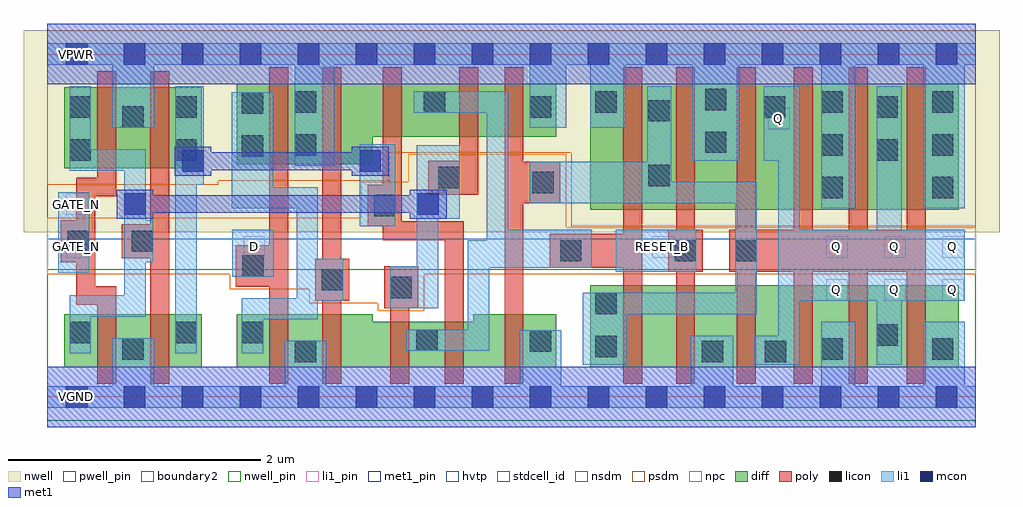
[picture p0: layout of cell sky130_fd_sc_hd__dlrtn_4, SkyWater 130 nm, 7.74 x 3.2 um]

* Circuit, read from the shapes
.subckt sky130_fd_sc_hd__dlrtn_4 D GATE_N Q RESET_B VGND VNB VPB VPWR
XM1 VGND GATE_N n1 VNB sky130_fd_pr__nfet_01v8 w=0.42 l=0.15
XM2 n2 n1 VGND VNB sky130_fd_pr__nfet_01v8 w=0.42 l=0.15
XM3 VGND D n3 VNB sky130_fd_pr__nfet_01v8 w=0.42 l=0.15
XM4 n4 n3 VGND VNB sky130_fd_pr__nfet_01v8 w=0.42 l=0.15
XM5 n5 n1 n4 VNB sky130_fd_pr__nfet_01v8 w=0.36 l=0.15
XM6 n6 n2 n5 VNB sky130_fd_pr__nfet_01v8 w=0.36 l=0.15
XM7 VGND n7 n6 VNB sky130_fd_pr__nfet_01v8 w=0.42 l=0.15
XM8 n8 n5 n7 VNB sky130_fd_pr__nfet_01v8 w=0.65 l=0.15
XM9 VGND RESET_B n8 VNB sky130_fd_pr__nfet_01v8 w=0.65 l=0.15
XM10 Q n7 VGND VNB sky130_fd_pr__nfet_01v8 w=0.65 l=0.15 m=4
XM11 VPWR GATE_N n1 VPB sky130_fd_pr__pfet_01v8_hvt w=0.64 l=0.15
XM12 n2 n1 VPWR VPB sky130_fd_pr__pfet_01v8_hvt w=0.64 l=0.15
XM13 VPWR D n3 VPB sky130_fd_pr__pfet_01v8_hvt w=0.64 l=0.15
XM14 n9 n3 VPWR VPB sky130_fd_pr__pfet_01v8_hvt w=0.64 l=0.15
XM15 n5 n2 n9 VPB sky130_fd_pr__pfet_01v8_hvt w=0.42 l=0.15
XM16 n10 n1 n5 VPB sky130_fd_pr__pfet_01v8_hvt w=0.42 l=0.15
XM17 VPWR n7 n10 VPB sky130_fd_pr__pfet_01v8_hvt w=0.42 l=0.15
XM18 n7 n5 VPWR VPB sky130_fd_pr__pfet_01v8_hvt w=1 l=0.15
XM19 VPWR RESET_B n7 VPB sky130_fd_pr__pfet_01v8_hvt w=1 l=0.15
XM20 Q n7 VPWR VPB sky130_fd_pr__pfet_01v8_hvt w=1 l=0.15 m=4
.ends

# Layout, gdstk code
import gdstk
lib = gdstk.Library(unit=1e-6, precision=1e-09)
def R(c, l, rs):  # rectangles x0, y0, x1, y1
    for r in rs: c.add(gdstk.rectangle(r[:2], r[2:], *l))
def A(c, l, x, y, w, h, nx, ny, dx, dy):  # array of equal rectangles
    R(c, l, [(x+i*dx, y+j*dy, x+i*dx+w, y+j*dy+h) for i in range(nx) for j in range(ny)])
def P(c, l, *ps):  # polygons
    for p in ps: c.add(gdstk.Polygon(p, *l))
nwell_pin = (64, 16)
nwell = (64, 20)
diff = (65, 20)
poly = (66, 20)
licon = (66, 44)
li1_pin = (67, 16)
li1 = (67, 20)
mcon = (67, 44)
met1_pin = (68, 16)
met1 = (68, 20)
hvtp = (78, 44)
stdcell_id = (81, 4)
nsdm = (93, 44)
psdm = (94, 20)
npc = (95, 20)
pwell_pin = (122, 16)
boundary2 = (236, 0)

sky130_fd_sc_hd__dlrtn_4 = lib.new_cell('sky130_fd_sc_hd__dlrtn_4')
R(sky130_fd_sc_hd__dlrtn_4, nwell_pin, [(0.15,2.635,0.32,2.805), (0.15,2.635,0.32,2.805), (0.15,2.635,0.32,2.805), (0.15,2.635,0.32,2.805)])
R(sky130_fd_sc_hd__dlrtn_4, nwell, [(-0.19,1.305,7.55,2.91)])
R(sky130_fd_sc_hd__dlrtn_4, diff, [(0.135,0.235,1.225,0.655), (4.305,0.235,7.225,0.885), (4.305,1.485,7.225,2.485), (0.135,1.815,1.225,2.455)])
P(sky130_fd_sc_hd__dlrtn_4, diff, [(4.035,2.485),(1.5,2.485),(1.5,1.845),(2.58,1.845),(2.58,2.065),(4.035,2.065)],
  [(4.035,0.655),(3.375,0.655),(3.375,0.595),(2.58,0.595),(2.58,0.655),(1.5,0.655),(1.5,0.235),(4.035,0.235)])
P(sky130_fd_sc_hd__dlrtn_4, poly, [(0.545,0.88),(0.38,0.88),(0.38,1.59),(0.545,1.59),(0.545,2.585),(0.395,2.585),(0.395,1.74),(0.23,1.74),(0.23,1.4),(0.105,1.4),(0.105,1.07),(0.23,1.07),(0.23,0.73),(0.395,0.73),(0.395,0.105),(0.545,0.105)],
  [(0.965,2.585),(0.815,2.585),(0.815,1.37),(0.59,1.37),(0.59,1.1),(0.815,1.1),(0.815,0.105),(0.965,0.105)],
  [(1.91,2.615),(1.76,2.615),(1.76,1.205),(1.495,1.205),(1.495,0.875),(1.76,0.875),(1.76,0.105),(1.91,0.105)],
  [(2.395,1.095),(2.33,1.095),(2.33,2.615),(2.18,2.615),(2.18,1.095),(2.125,1.095),(2.125,0.765),(2.18,0.765),(2.18,0.105),(2.33,0.105),(2.33,0.765),(2.395,0.765)],
  [(2.94,1.035),(2.67,1.035),(2.67,0.705),(2.72,0.705),(2.72,0.105),(2.87,0.105),(2.87,0.705),(2.94,0.705)],
  [(3.3,1.395),(2.81,1.395),(2.81,2.615),(2.66,2.615),(2.66,1.685),(2.54,1.685),(2.54,1.355),(2.66,1.355),(2.66,1.245),(3.15,1.245),(3.15,0.105),(3.3,0.105)],
  [(3.415,2.615),(3.265,2.615),(3.265,1.875),(3.02,1.875),(3.02,1.605),(3.415,1.605)],
  [(4.065,1.865),(3.775,1.865),(3.775,2.615),(3.625,2.615),(3.625,0.105),(3.775,0.105),(3.775,1.535),(4.065,1.535)],
  [(4.715,2.615),(4.565,2.615),(4.565,1.295),(3.985,1.295),(3.985,1.025),(4.565,1.025),(4.565,0.105),(4.715,0.105)],
  [(5.195,1.325),(5.135,1.325),(5.135,2.615),(4.985,2.615),(4.985,1.325),(4.925,1.325),(4.925,0.995),(4.985,0.995),(4.985,0.105),(5.135,0.105),(5.135,0.995),(5.195,0.995)],
  [(6.965,2.615),(6.815,2.615),(6.815,1.325),(6.505,1.325),(6.505,2.615),(6.355,2.615),(6.355,1.325),(6.07,1.325),(6.07,2.615),(5.92,2.615),(5.92,1.325),(5.615,1.325),(5.615,2.615),(5.465,2.615),(5.465,1.325),(5.405,1.325),(5.405,0.995),(5.465,0.995),(5.465,0.105),(5.615,0.105),(5.615,0.995),(5.92,0.995),(5.92,0.105),(6.07,0.105),(6.07,0.995),(6.355,0.995),(6.355,0.105),(6.505,0.105),(6.505,0.995),(6.815,0.995),(6.815,0.105),(6.965,0.105)])
A(sky130_fd_sc_hd__dlrtn_4, licon, 6.135, 1.575, 0.17, 0.17, 1, 3, 0, 0.34)
A(sky130_fd_sc_hd__dlrtn_4, licon, 7.015, 1.575, 0.17, 0.17, 1, 3, 0, 0.34)
R(sky130_fd_sc_hd__dlrtn_4, licon, [(1.96,0.275,2.13,0.445), (5.19,0.275,5.36,0.445), (5.69,0.275,5.86,0.445), (0.595,0.295,0.765,0.465), (6.135,0.295,6.305,0.465), (7.015,0.295,7.185,0.465), (4.345,0.315,4.515,0.485), (3.825,0.36,3.995,0.53), (2.925,0.365,3.095,0.535), (6.575,0.405,6.745,0.575), (0.175,0.425,0.345,0.595), (1.015,0.425,1.185,0.595), (1.54,0.425,1.71,0.595), (4.345,0.655,4.515,0.825), (2.72,0.785,2.89,0.955), (2.175,0.845,2.345,1.015), (1.545,0.955,1.715,1.125), (4.065,1.075,4.235,1.245), (4.975,1.075,5.145,1.245), (5.455,1.075,5.625,1.245), (0.16,1.15,0.33,1.32), (0.67,1.15,0.84,1.32), (2.59,1.435,2.76,1.605), (3.845,1.615,4.015,1.785), (3.1,1.655,3.27,1.825), (4.765,1.67,4.935,1.84), (0.175,1.875,0.345,2.045), (1.015,1.875,1.185,2.045), (6.575,1.875,6.745,2.045), (1.54,1.905,1.71,2.075), (1.96,1.915,2.13,2.085), (5.215,1.935,5.385,2.105), (0.595,2.135,0.765,2.305), (4.765,2.185,4.935,2.355), (0.175,2.215,0.345,2.385), (1.015,2.215,1.185,2.385), (3.825,2.215,3.995,2.385), (5.68,2.215,5.85,2.385), (6.575,2.215,6.745,2.385), (1.54,2.245,1.71,2.415), (1.96,2.255,2.13,2.425), (2.985,2.255,3.155,2.425), (4.345,2.255,4.515,2.425), (5.215,2.275,5.385,2.445)])
A(sky130_fd_sc_hd__dlrtn_4, li1_pin, 6.175, 0.765, 0.17, 0.17, 3, 2, 0.46, 0.34)
R(sky130_fd_sc_hd__dlrtn_4, li1_pin, [(0.15,1.105,0.32,1.275), (1.555,1.105,1.725,1.275), (4.795,1.105,4.965,1.275), (0.15,1.445,0.32,1.615), (5.715,2.125,5.885,2.295)])
R(sky130_fd_sc_hd__dlrtn_4, li1, [(1.465,0.955,1.795,1.325), (0.085,0.985,0.33,1.625), (4.505,0.995,5.145,1.325), (2.475,1.355,2.76,2.005)])
P(sky130_fd_sc_hd__dlrtn_4, li1, [(2.345,1.095),(2.145,1.095),(2.145,1.665),(1.79,1.665),(1.79,2.415),(1.46,2.415),(1.46,1.495),(1.975,1.495),(1.975,0.785),(1.54,0.785),(1.54,0.345),(1.71,0.345),(1.71,0.615),(2.145,0.615),(2.145,0.765),(2.345,0.765)],
  [(3.27,1.995),(2.93,1.995),(2.93,1.035),(2.72,1.035),(2.72,0.705),(3.1,0.705),(3.1,1.415),(3.27,1.415)],
  [(5.625,1.705),(4.945,1.705),(4.945,2.465),(4.755,2.465),(4.755,1.865),(3.825,1.865),(3.825,1.535),(5.455,1.535),(5.455,0.825),(4.245,0.825),(4.245,0.255),(4.595,0.255),(4.595,0.655),(5.625,0.655)],
  [(7.275,1.325),(6.775,1.325),(6.775,2.465),(6.575,2.465),(6.575,1.325),(5.965,1.325),(5.965,2.465),(5.68,2.465),(5.68,1.875),(5.795,1.875),(5.795,0.485),(5.61,0.485),(5.61,0.255),(5.965,0.255),(5.965,0.765),(6.575,0.765),(6.575,0.255),(6.775,0.255),(6.775,0.765),(7.275,0.765)],
  [(7.36,2.805),(0,2.805),(0,2.635),(0.515,2.635),(0.515,2.135),(0.845,2.135),(0.845,2.635),(1.96,2.635),(1.96,1.835),(2.275,1.835),(2.275,2.635),(3.825,2.635),(3.825,2.135),(4.115,2.135),(4.115,2.635),(4.305,2.635),(4.305,2.135),(4.585,2.135),(4.585,2.635),(5.115,2.635),(5.115,1.875),(5.485,1.875),(5.485,2.635),(6.135,2.635),(6.135,1.495),(6.405,1.495),(6.405,2.635),(6.945,2.635),(6.945,1.495),(7.275,1.495),(7.275,2.635),(7.36,2.635)],
  [(1.24,2.465),(1.015,2.465),(1.015,0.345),(1.185,0.345),(1.185,1.685),(1.24,1.685)],
  [(7.36,0.085),(7.275,0.085),(7.275,0.595),(6.945,0.595),(6.945,0.085),(6.405,0.085),(6.405,0.595),(6.135,0.595),(6.135,0.085),(5.44,0.085),(5.44,0.485),(5.1,0.485),(5.1,0.085),(4.075,0.085),(4.075,0.53),(3.745,0.53),(3.745,0.085),(2.21,0.085),(2.21,0.445),(1.88,0.445),(1.88,0.085),(0.845,0.085),(0.845,0.465),(0.515,0.465),(0.515,0.085),(0,0.085),(0,-0.085),(7.36,-0.085)],
  [(0.84,1.4),(0.78,1.4),(0.78,1.965),(0.345,1.965),(0.345,2.465),(0.175,2.465),(0.175,1.795),(0.61,1.795),(0.61,0.805),(0.175,0.805),(0.175,0.345),(0.345,0.345),(0.345,0.635),(0.78,0.635),(0.78,1.07),(0.84,1.07)],
  [(4.315,1.325),(3.655,1.325),(3.655,2.425),(2.905,2.425),(2.905,2.255),(3.485,2.255),(3.485,1.245),(3.335,1.245),(3.335,0.535),(2.845,0.535),(2.845,0.365),(3.505,0.365),(3.505,1.025),(4.315,1.025)])
A(sky130_fd_sc_hd__dlrtn_4, mcon, 0.145, -0.085, 0.17, 0.17, 16, 2, 0.46, 2.72)
R(sky130_fd_sc_hd__dlrtn_4, mcon, [(0.61,1.445,0.78,1.615), (2.935,1.445,3.105,1.615), (1.07,1.785,1.24,1.955), (2.475,1.785,2.645,1.955)])
R(sky130_fd_sc_hd__dlrtn_4, met1_pin, [(0.15,-0.085,0.32,0.085), (0.15,2.635,0.32,2.805), (0.15,2.635,0.32,2.805), (0.15,2.635,0.32,2.805)])
R(sky130_fd_sc_hd__dlrtn_4, met1, [(0,-0.24,7.36,0.24), (0,2.48,7.36,2.96)])
P(sky130_fd_sc_hd__dlrtn_4, met1, [(2.705,1.985),(2.415,1.985),(2.415,1.94),(1.3,1.94),(1.3,1.985),(1.01,1.985),(1.01,1.755),(1.3,1.755),(1.3,1.8),(2.415,1.8),(2.415,1.755),(2.705,1.755)],
  [(3.165,1.645),(2.875,1.645),(2.875,1.6),(0.84,1.6),(0.84,1.645),(0.55,1.645),(0.55,1.415),(0.84,1.415),(0.84,1.46),(2.875,1.46),(2.875,1.415),(3.165,1.415)])
R(sky130_fd_sc_hd__dlrtn_4, hvtp, [(0,1.25,7.36,2.72)])
R(sky130_fd_sc_hd__dlrtn_4, stdcell_id, [(0,0,7.36,2.72)])
R(sky130_fd_sc_hd__dlrtn_4, nsdm, [(0,-0.19,7.36,1.015)])
P(sky130_fd_sc_hd__dlrtn_4, psdm, [(7.36,2.91),(0,2.91),(0,1.685),(1.355,1.685),(1.355,1.715),(2.71,1.715),(2.71,1.935),(4.155,1.935),(4.155,1.355),(7.36,1.355)])
P(sky130_fd_sc_hd__dlrtn_4, npc, [(7.36,1.345),(4.115,1.345),(4.115,1.925),(2.86,1.925),(2.86,1.705),(2.49,1.705),(2.49,1.42),(0,1.42),(0,0.975),(1.445,0.975),(1.445,0.855),(2.075,0.855),(2.075,0.745),(2.62,0.745),(2.62,0.685),(2.99,0.685),(2.99,0.975),(7.36,0.975)])
R(sky130_fd_sc_hd__dlrtn_4, pwell_pin, [(0.15,-0.085,0.32,0.085)])
R(sky130_fd_sc_hd__dlrtn_4, boundary2, [(0,0,7.36,2.72)])
sky130_fd_sc_hd__dlrtn_4.add(gdstk.Label('Q', (5.8,2.21), layer=67, texttype=5))
sky130_fd_sc_hd__dlrtn_4.add(gdstk.Label('Q', (6.72,0.85), layer=67, texttype=5))
sky130_fd_sc_hd__dlrtn_4.add(gdstk.Label('Q', (6.26,1.19), layer=67, texttype=5))
sky130_fd_sc_hd__dlrtn_4.add(gdstk.Label('D', (1.64,1.19), layer=67, texttype=5))
sky130_fd_sc_hd__dlrtn_4.add(gdstk.Label('GATE_N', (0.23,1.19), layer=67, texttype=5))
sky130_fd_sc_hd__dlrtn_4.add(gdstk.Label('GATE_N', (0.23,1.53), layer=67, texttype=5))
sky130_fd_sc_hd__dlrtn_4.add(gdstk.Label('Q', (7.18,0.85), layer=67, texttype=5))
sky130_fd_sc_hd__dlrtn_4.add(gdstk.Label('Q', (7.18,1.19), layer=67, texttype=5))
sky130_fd_sc_hd__dlrtn_4.add(gdstk.Label('Q', (6.72,1.19), layer=67, texttype=5))
sky130_fd_sc_hd__dlrtn_4.add(gdstk.Label('RESET_B', (4.88,1.19), layer=67, texttype=5))
sky130_fd_sc_hd__dlrtn_4.add(gdstk.Label('Q', (6.26,0.85), layer=67, texttype=5))
sky130_fd_sc_hd__dlrtn_4.add(gdstk.Label('VPWR', (0.23,2.72), layer=68, texttype=5))
sky130_fd_sc_hd__dlrtn_4.add(gdstk.Label('VGND', (0.23,0), layer=68, texttype=5))
sky130_fd_sc_hd__dlrtn_4.add(gdstk.Label('VPWR', (0.23,2.72), layer=68, texttype=5))
sky130_fd_sc_hd__dlrtn_4.add(gdstk.Label('VPWR', (0.23,2.72), layer=68, texttype=5))
sky130_fd_sc_hd__dlrtn_4.add(gdstk.Label('VPB', (0.235,2.72), layer=64, texttype=5))
sky130_fd_sc_hd__dlrtn_4.add(gdstk.Label('VPB', (0.235,2.72), layer=64, texttype=5))
sky130_fd_sc_hd__dlrtn_4.add(gdstk.Label('VPB', (0.235,2.72), layer=64, texttype=5))
sky130_fd_sc_hd__dlrtn_4.add(gdstk.Label('VPB', (0.235,2.72), layer=64, texttype=5))
sky130_fd_sc_hd__dlrtn_4.add(gdstk.Label('VNB', (0.235,0), layer=64, texttype=59))
sky130_fd_sc_hd__dlrtn_4.add(gdstk.Label('dlrtn_4', (0,0), layer=83, texttype=44))

lib.write_gds('sky130_fd_sc_hd__dlrtn_4.gds')
